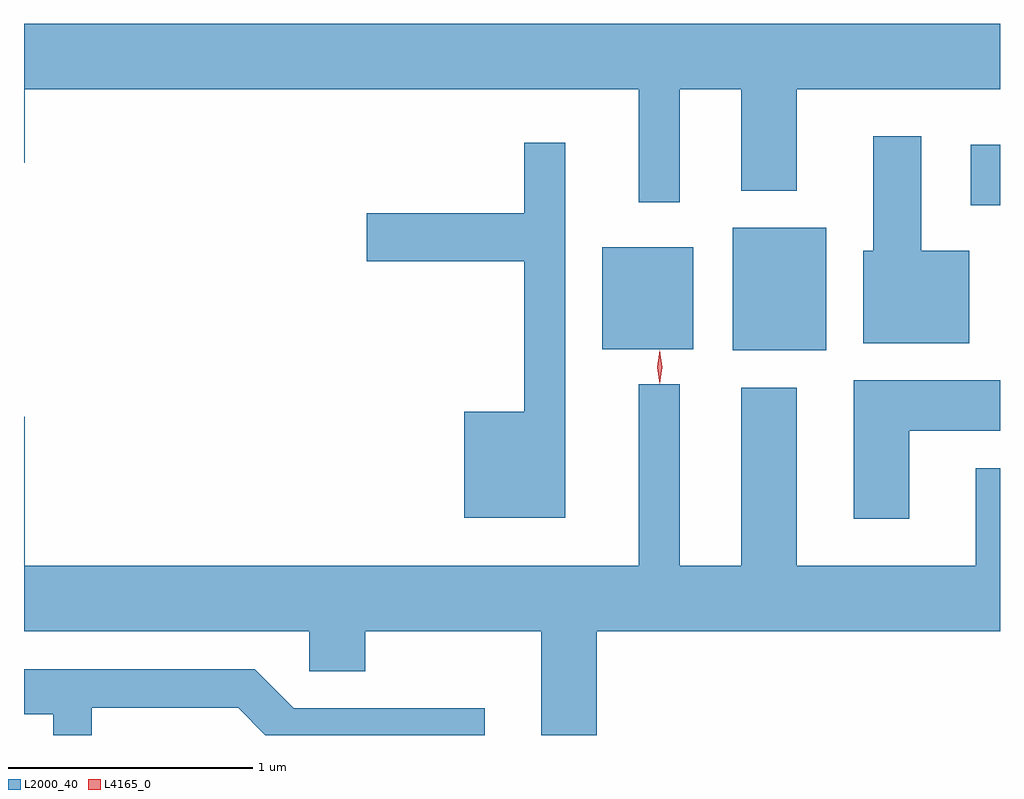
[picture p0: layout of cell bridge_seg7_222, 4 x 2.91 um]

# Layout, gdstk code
import gdstk
lib = gdstk.Library(unit=1e-6, precision=1e-09)
def R(c, l, rs):  # rectangles x0, y0, x1, y1
    for r in rs: c.add(gdstk.rectangle(r[:2], r[2:], *l))
def P(c, l, *ps):  # polygons
    for p in ps: c.add(gdstk.Polygon(p, *l))
L2000_40 = (2000, 40)
L4165_0 = (4165, 0)

bridge_seg7_222 = lib.new_cell('bridge_seg7_222')
R(bridge_seg7_222, L2000_40, [(1876.586,1675.506,1876.969,1676.009), (1876.051,1675.511,1876.424,1675.929), (1877.561,1676.101,1877.681,1676.349)])
P(bridge_seg7_222, L2000_40, [(1876.369,1676.576),(1876.621,1676.576),(1876.621,1676.161),(1876.849,1676.161),(1876.849,1676.576),(1877.681,1676.576),(1877.681,1676.844),(1873.681,1676.844),(1873.681,1676.276),(1873.684,1676.276),(1873.684,1676.576),(1876.201,1676.576),(1876.201,1676.113),(1876.369,1676.113)],
  [(1877.554,1675.914),(1877.359,1675.914),(1877.359,1676.384),(1877.161,1676.384),(1877.161,1675.914),(1877.121,1675.914),(1877.121,1675.536),(1877.554,1675.536)],
  [(1875.899,1676.358),(1875.731,1676.358),(1875.731,1676.069),(1875.086,1676.069),(1875.086,1675.871),(1875.731,1675.871),(1875.731,1675.254),(1875.486,1675.254),(1875.486,1674.821),(1875.899,1674.821)],
  [(1877.309,1675.176),(1877.681,1675.176),(1877.681,1675.384),(1877.081,1675.384),(1877.081,1674.816),(1877.309,1674.816)],
  [(1876.029,1674.356),(1877.681,1674.356),(1877.681,1675.024),(1877.581,1675.024),(1877.581,1674.624),(1876.849,1674.624),(1876.849,1675.354),(1876.621,1675.354),(1876.621,1674.624),(1876.369,1674.624),(1876.369,1675.368),(1876.201,1675.368),(1876.201,1674.624),(1873.684,1674.624),(1873.684,1675.234),(1873.681,1675.234),(1873.681,1674.356),(1874.851,1674.356),(1874.851,1674.191),(1875.079,1674.191),(1875.079,1674.356),(1875.801,1674.356),(1875.801,1673.93),(1876.029,1673.93)],
  [(1873.959,1674.041),(1874.559,1674.041),(1874.67,1673.93),(1875.569,1673.93),(1875.569,1674.039),(1874.787,1674.039),(1874.627,1674.199),(1873.681,1674.199),(1873.681,1674.016),(1873.801,1674.016),(1873.801,1673.93),(1873.959,1673.93)])
P(bridge_seg7_222, L4165_0, [(1876.286,1675.37),(1876.277,1675.438),(1876.286,1675.506),(1876.287,1675.506),(1876.287,1675.506),(1876.297,1675.438),(1876.287,1675.37),(1876.287,1675.37)],
  [(1876.286,1675.373),(1876.286,1675.373),(1876.276,1675.437),(1876.286,1675.502),(1876.286,1675.502),(1876.287,1675.502),(1876.296,1675.437),(1876.287,1675.373)])

lib.write_gds('bridge_seg7_222.gds')
